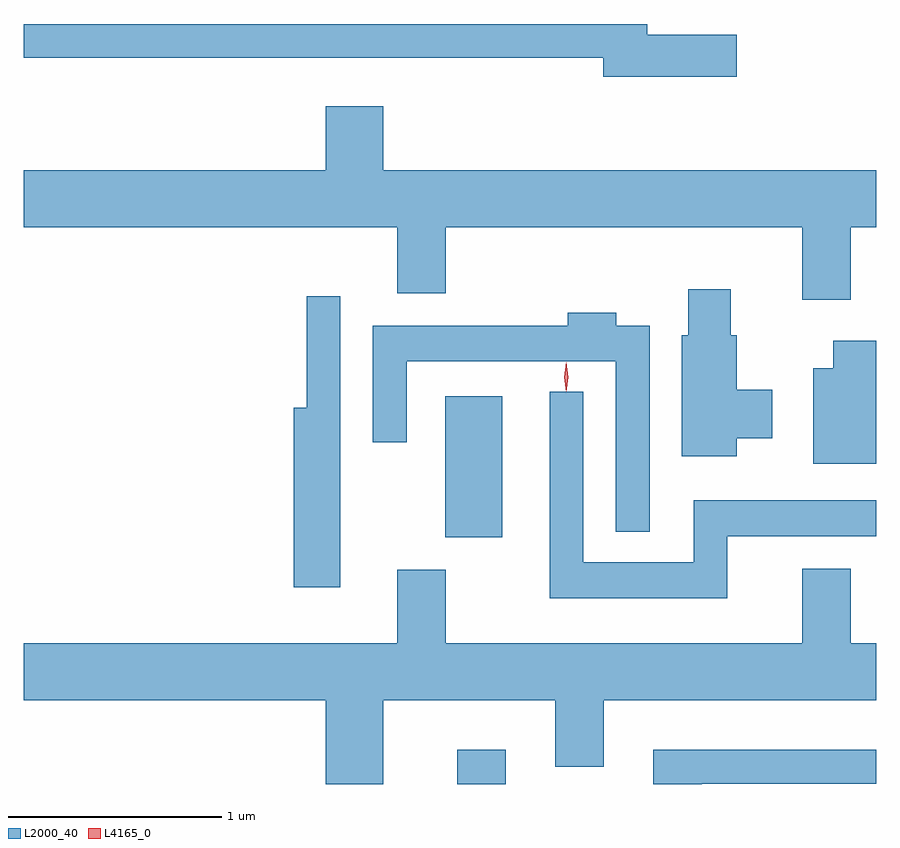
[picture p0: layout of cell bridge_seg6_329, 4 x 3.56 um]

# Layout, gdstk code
import gdstk
lib = gdstk.Library(unit=1e-6, precision=1e-09)
def R(c, l, rs):  # rectangles x0, y0, x1, y1
    for r in rs: c.add(gdstk.rectangle(r[:2], r[2:], *l))
def P(c, l, *ps):  # polygons
    for p in ps: c.add(gdstk.Polygon(p, *l))
L2000_40 = (2000, 40)
L4165_0 = (4165, 0)

bridge_seg6_329 = lib.new_cell('bridge_seg6_329')
R(bridge_seg6_329, L2000_40, [(1294.611,1549.644,1294.839,1549.804), (1294.556,1550.801,1294.824,1551.464)])
P(bridge_seg6_329, L2000_40, [(1295.924,1553.159),(1295.504,1553.159),(1295.504,1553.209),(1292.578,1553.209),(1292.578,1553.051),(1295.296,1553.051),(1295.296,1552.961),(1295.924,1552.961)],
  [(1296.459,1552.256),(1296.578,1552.256),(1296.578,1552.524),(1294.264,1552.524),(1294.264,1552.824),(1293.996,1552.824),(1293.996,1552.524),(1292.578,1552.524),(1292.578,1552.256),(1294.331,1552.256),(1294.331,1551.946),(1294.559,1551.946),(1294.559,1552.256),(1296.231,1552.256),(1296.231,1551.916),(1296.459,1551.916)],
  [(1295.924,1551.266),(1296.089,1551.266),(1296.089,1551.494),(1295.924,1551.494),(1295.924,1551.749),(1295.894,1551.749),(1295.894,1551.964),(1295.696,1551.964),(1295.696,1551.749),(1295.666,1551.749),(1295.666,1551.181),(1295.924,1551.181)],
  [(1294.064,1551.933),(1293.906,1551.933),(1293.906,1551.409),(1293.846,1551.409),(1293.846,1550.566),(1294.064,1550.566)],
  [(1295.514,1551.794),(1295.359,1551.794),(1295.359,1551.854),(1295.131,1551.854),(1295.131,1551.794),(1294.216,1551.794),(1294.216,1551.248),(1294.374,1551.248),(1294.374,1551.626),(1295.356,1551.626),(1295.356,1550.828),(1295.514,1550.828)],
  [(1296.578,1551.724),(1296.376,1551.724),(1296.376,1551.594),(1296.281,1551.594),(1296.281,1551.146),(1296.578,1551.146)],
  [(1295.879,1550.806),(1296.578,1550.806),(1296.578,1550.974),(1295.721,1550.974),(1295.721,1550.684),(1295.204,1550.684),(1295.204,1551.483),(1295.046,1551.483),(1295.046,1550.516),(1295.879,1550.516)],
  [(1294.264,1550.036),(1295.071,1550.036),(1295.071,1549.726),(1295.299,1549.726),(1295.299,1550.036),(1296.578,1550.036),(1296.578,1550.304),(1296.459,1550.304),(1296.459,1550.654),(1296.231,1550.654),(1296.231,1550.304),(1294.559,1550.304),(1294.559,1550.649),(1294.331,1550.649),(1294.331,1550.304),(1292.578,1550.304),(1292.578,1550.036),(1293.996,1550.036),(1293.996,1549.644),(1294.264,1549.644)],
  [(1295.759,1549.646),(1296.578,1549.646),(1296.578,1549.804),(1295.531,1549.804),(1295.531,1549.644),(1295.759,1549.644)])
P(bridge_seg6_329, L4165_0, [(1295.123,1551.483),(1295.123,1551.484),(1295.113,1551.553),(1295.123,1551.622),(1295.123,1551.623),(1295.124,1551.622),(1295.133,1551.553),(1295.124,1551.484)])

lib.write_gds('bridge_seg6_329.gds')
